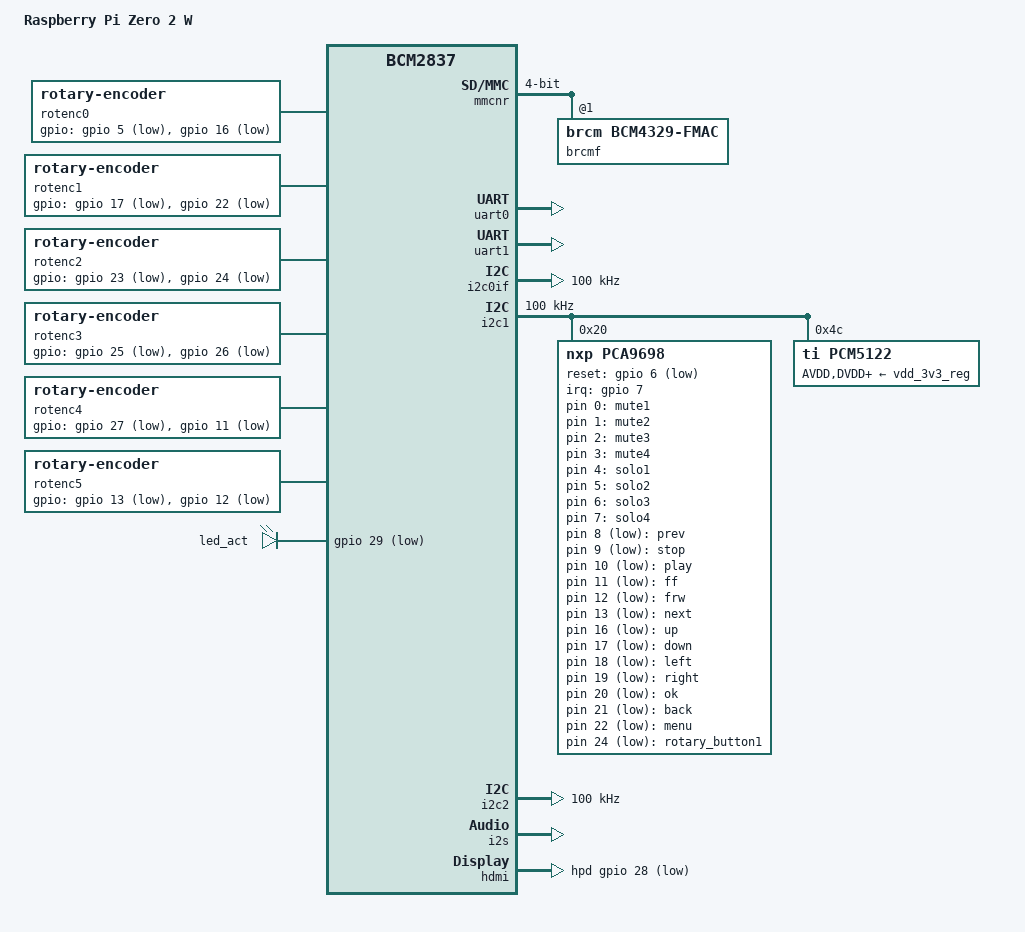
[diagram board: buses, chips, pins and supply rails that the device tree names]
/dts-v1/;

#include <dt-bindings/input/input.h>

#include "bcm2710.dtsi"
#include "bcm2709-rpi.dtsi"
#include "bcm283x-rpi-csi1-2lane.dtsi"
#include "bcm283x-rpi-i2c0mux_0_44.dtsi"
#include "bcm2708-rpi-bt.dtsi"
#include "bcm283x-rpi-led-deprecated.dtsi"

/ {
	compatible = "raspberrypi,model-zero-2-w", "brcm,bcm2837";
	model = "Raspberry Pi Zero 2 W";

	aliases {
		serial0 = &uart1;
		serial1 = &uart0;
		mmc1 = &mmcnr;
	};

	rotenc0: rotary-encoder0 {
		compatible = "rotary-encoder";
		pinctrl-names = "default";
		pinctrl-0 = <&rotenc0_pins>;

		/* A, B channels (BCM GPIO numbers) */
		gpios = <&gpio 5  GPIO_ACTIVE_LOW>,
			<&gpio 16 GPIO_ACTIVE_LOW>;

		/* Optional but recommended */
		//linux,axis = <ABS_X>;               /* produces ABS_X events */
		rotary-encoder,relative-axis;       /* relative movement (like a mouse wheel) */
		rotary-encoder,steps-per-period = <4>; /* common for quadrature */
		debounce-interval = <2>;            /* ms; tweak (1–5 typical) */
	};

	rotenc1: rotary-encoder1 {
		compatible = "rotary-encoder";
		pinctrl-names = "default";
		pinctrl-0 = <&rotenc1_pins>;

		/* A, B channels (BCM GPIO numbers) */
		gpios = <&gpio 17 GPIO_ACTIVE_LOW>,
			<&gpio 22 GPIO_ACTIVE_LOW>;

		rotary-encoder,relative-axis;
		rotary-encoder,steps-per-period = <4>;
		debounce-interval = <2>;
	};

	rotenc2: rotary-encoder2 {
		compatible = "rotary-encoder";
		pinctrl-names = "default";
		pinctrl-0 = <&rotenc2_pins>;

		/* A, B channels (BCM GPIO numbers) */
		gpios = <&gpio 23 GPIO_ACTIVE_LOW>,
			<&gpio 24 GPIO_ACTIVE_LOW>;

		rotary-encoder,relative-axis;
		rotary-encoder,steps-per-period = <4>;
		debounce-interval = <2>;
	};

	rotenc3: rotary-encoder3 {
		compatible = "rotary-encoder";
		pinctrl-names = "default";
		pinctrl-0 = <&rotenc3_pins>;

		/* A, B channels (BCM GPIO numbers) */
		gpios = <&gpio 25 GPIO_ACTIVE_LOW>,
			<&gpio 26 GPIO_ACTIVE_LOW>;

		rotary-encoder,relative-axis;
		rotary-encoder,steps-per-period = <4>;
		debounce-interval = <2>;
	};

	rotenc4: rotary-encoder4 {
		compatible = "rotary-encoder";
		pinctrl-names = "default";
		pinctrl-0 = <&rotenc4_pins>;

		/* A, B channels (BCM GPIO numbers) */
		gpios = <&gpio 27 GPIO_ACTIVE_LOW>,
			<&gpio 11 GPIO_ACTIVE_LOW>;

		rotary-encoder,relative-axis;
		rotary-encoder,steps-per-period = <4>;
		debounce-interval = <2>;
	};

	rotenc5: rotary-encoder5 {
		compatible = "rotary-encoder";
		pinctrl-names = "default";
		pinctrl-0 = <&rotenc5_pins>;

		/* A, B channels (BCM GPIO numbers) */
		gpios = <&gpio 13 GPIO_ACTIVE_LOW>,
			<&gpio 12 GPIO_ACTIVE_LOW>;

		rotary-encoder,relative-axis;
		rotary-encoder,steps-per-period = <4>;
		debounce-interval = <2>;
	};

	gpio_leds_pca: gpio-leds {
		compatible = "gpio-leds";

		mute1_led: mute1 {
			label = "mute1";
			gpios = <&pca9698 0 GPIO_ACTIVE_HIGH>;
			default-state = "off";
		};

		mute2_led: mute2 {
			label = "mute2";
			gpios = <&pca9698 1 GPIO_ACTIVE_HIGH>;
			default-state = "off";
		};

		mute3_led: mute3 {
			label = "mute3";
			gpios = <&pca9698 2 GPIO_ACTIVE_HIGH>;
			default-state = "off";
		};

		mute4_led: mute4 {
			label = "mute4";
			gpios = <&pca9698 3 GPIO_ACTIVE_HIGH>;
			default-state = "off";
		};

		solo1_led: solo1 {
			label = "solo1";
			gpios = <&pca9698 4 GPIO_ACTIVE_HIGH>;
			default-state = "off";
		};

		solo2_led: solo2 {
			label = "solo2";
			gpios = <&pca9698 5 GPIO_ACTIVE_HIGH>;
			default-state = "off";
		};

		solo3_led: solo3 {
			label = "solo3";
			gpios = <&pca9698 6 GPIO_ACTIVE_HIGH>;
			default-state = "off";
		};

		solo4_led: solo4 {
			label = "solo4";
			gpios = <&pca9698 7 GPIO_ACTIVE_HIGH>;
			default-state = "off";
		};
	};

	gpio_keys_pca: gpio-keys {
		compatible = "gpio-keys";
		autorepeat;

		prev_key {
			label = "prev";
			linux,code = <KEY_PREVIOUS>;
			gpios = <&pca9698 8 GPIO_ACTIVE_LOW>;
			bias-pull-up;
		};

		stop_key {
			label = "stop";
			linux,code = <KEY_STOP>;
			gpios = <&pca9698 9 GPIO_ACTIVE_LOW>;
			bias-pull-up;
		};

		play_key {
			label = "play";
			linux,code = <KEY_PLAY>;
			gpios = <&pca9698 10 GPIO_ACTIVE_LOW>;
			bias-pull-up;
		};

		ff_key {
			label = "ff";
			linux,code = <KEY_FASTFORWARD>;
			gpios = <&pca9698 11 GPIO_ACTIVE_LOW>;
			bias-pull-up;
		};

		frw_key {
			label = "frw";
			linux,code = <KEY_REWIND>;
			gpios = <&pca9698 12 GPIO_ACTIVE_LOW>;
			bias-pull-up;
		};

		next_key {
			label = "next";
			linux,code = <KEY_NEXT>;
			gpios = <&pca9698 13 GPIO_ACTIVE_LOW>;
			bias-pull-up;
		};

		up_key {
			label = "up";
			linux,code = <KEY_UP>;
			gpios = <&pca9698 16 GPIO_ACTIVE_LOW>;
			bias-pull-up;
		};

		down_key {
			label = "down";
			linux,code = <KEY_DOWN>;
			gpios = <&pca9698 17 GPIO_ACTIVE_LOW>;
			bias-pull-up;
		};

		left_key {
			label = "left";
			linux,code = <KEY_LEFT>;
			gpios = <&pca9698 18 GPIO_ACTIVE_LOW>;
			bias-pull-up;
		};

		right_key {
			label = "right";
			linux,code = <KEY_RIGHT>;
			gpios = <&pca9698 19 GPIO_ACTIVE_LOW>;
			bias-pull-up;
		};

		ok_key {
			label = "ok";
			linux,code = <KEY_OK>;
			gpios = <&pca9698 20 GPIO_ACTIVE_LOW>;
			bias-pull-up;
		};

		back_key {
			label = "back";
			linux,code = <KEY_BACK>;
			gpios = <&pca9698 21 GPIO_ACTIVE_LOW>;
			bias-pull-up;
		};

		menu_key {
			label = "menu";
			linux,code = <KEY_MENU>;
			gpios = <&pca9698 22 GPIO_ACTIVE_LOW>;
			bias-pull-up;
		};

		rotary_button1_key {
			label = "rotary_button1";
			linux,code = <KEY_1>;
			gpios = <&pca9698 24 GPIO_ACTIVE_LOW>;
			bias-pull-up;
		};

		rotary_button2_key {
			label = "rotary_button2";
			linux,code = <KEY_2>;
			gpios = <&pca9698 25 GPIO_ACTIVE_LOW>;
			bias-pull-up;
		};

		rotary_button3_key {
			label = "rotary_button3";
			linux,code = <KEY_3>;
			gpios = <&pca9698 26 GPIO_ACTIVE_LOW>;
			bias-pull-up;
		};

		rotary_button4_key {
			label = "rotary_button4";
			linux,code = <KEY_4>;
			gpios = <&pca9698 27 GPIO_ACTIVE_LOW>;
			bias-pull-up;
		};

		rotary_button5_key {
			label = "rotary_button5";
			linux,code = <KEY_5>;
			gpios = <&pca9698 28 GPIO_ACTIVE_LOW>;
			bias-pull-up;
		};

		rotary_button6_key {
			label = "rotary_button6";
			linux,code = <KEY_6>;
			gpios = <&pca9698 29 GPIO_ACTIVE_LOW>;
			bias-pull-up;
		};
	};
};

&gpio {
	/*
	 * This is based on the official GPU firmware DT blob.
	 *
	 * Legend:
	 * "NC" = not connected (no rail from the SoC)
	 * "FOO" = GPIO line named "FOO" on the schematic
	 * "FOO_N" = GPIO line named "FOO" on schematic, active low
	 */
	gpio-line-names = "ID_SDA",
			  "ID_SCL",
			  "GPIO2",
			  "GPIO3",
			  "GPIO4",
			  "GPIO5",
			  "GPIO6",
			  "GPIO7",
			  "GPIO8",
			  "GPIO9",
			  "GPIO10",
			  "GPIO11",
			  "GPIO12",
			  "GPIO13",
			  "GPIO14",
			  "GPIO15",
			  "GPIO16",
			  "GPIO17",
			  "GPIO18",
			  "GPIO19",
			  "GPIO20",
			  "GPIO21",
			  "GPIO22",
			  "GPIO23",
			  "GPIO24",
			  "GPIO25",
			  "GPIO26",
			  "GPIO27",
			  "HDMI_HPD_N",
			  "STATUS_LED_N",
			  /* Used by BT module */
			  "CTS0",
			  "RTS0",
			  "TXD0",
			  "RXD0",
			  /* Used by Wifi */
			  "SD1_CLK",
			  "SD1_CMD",
			  "SD1_DATA0",
			  "SD1_DATA1",
			  "SD1_DATA2",
			  "SD1_DATA3",
			  "CAM_GPIO1", /* GPIO40 */
			  "WL_ON", /* GPIO41 */
			  "BT_ON", /* GPIO42 */
			  "WIFI_CLK", /* GPIO43 */
			  "SDA0", /* GPIO44 */
			  "SCL0", /* GPIO45 */
			  "SMPS_SCL", /* GPIO46 */
			  "SMPS_SDA", /* GPIO47 */
			  /* Used by SD Card */
			  "SD_CLK_R",
			  "SD_CMD_R",
			  "SD_DATA0_R",
			  "SD_DATA1_R",
			  "SD_DATA2_R",
			  "SD_DATA3_R";

	i2c0_pins: i2c0 {
		brcm,pins = <0 1>;
		brcm,function = <4>;
	};

	i2c1_pins: i2c1 {
		brcm,pins = <2 3>;
		brcm,function = <4>;
	};

	i2s_pins: i2s {
		brcm,pins = <18 19 20 21>;
		brcm,function = <4>; /* alt0 */
	};

	rotenc0_pins: rotenc0_pins {
		brcm,pins = <5 16>;
		brcm,function = <0>; /* input */
		brcm,pull = <2 2>; /* up */
	};

	rotenc1_pins: rotenc1_pins {
		brcm,pins = <17 22>;
		brcm,function = <0>; /* input */
		brcm,pull = <2 2>; /* up */
	};

	rotenc2_pins: rotenc2_pins {
		brcm,pins = <23 24>;
		brcm,function = <0>; /* input */
		brcm,pull = <2 2>; /* up */
	};

	rotenc3_pins: rotenc3_pins {
		brcm,pins = <25 26>;
		brcm,function = <0>; /* input */
		brcm,pull = <2 2>; /* up */
	};

	rotenc4_pins: rotenc4_pins {
		brcm,pins = <27 11>;
		brcm,function = <0>; /* input */
		brcm,pull = <2 2>; /* up */
	};

	rotenc5_pins: rotenc5_pins {
		brcm,pins = <13 12>;
		brcm,function = <0>; /* input */
		brcm,pull = <2 2>; /* up */
	};

	pca_int_reset_pins: pca_int_reset_pins {
		brcm,pins = <6 7>;
		brcm,function = <0>; /* input */
		brcm,pull = <2 2>; /* up */
	};

	sdio_pins: sdio_pins {
		brcm,pins =     <34 35 36 37 38 39>;
		brcm,function = <7>; // alt3 = SD1
		brcm,pull =     <0 2 2 2 2 2>;
	};

	bt_pins: bt_pins {
		brcm,pins = <43>;
		brcm,function = <4>; /* alt0:GPCLK2 */
		brcm,pull = <0>;
	};

	uart0_pins: uart0_pins {
		brcm,pins = <30 31 32 33>;
		brcm,function = <7>; /* alt3=UART0 */
		brcm,pull = <2 0 0 2>; /* up none none up */
	};

	uart1_pins: uart1_pins {
		brcm,pins;
		brcm,function;
		brcm,pull;
	};

	uart1_bt_pins: uart1_bt_pins {
		brcm,pins = <32 33 30 31>;
		brcm,function = <BCM2835_FSEL_ALT5>; /* alt5=UART1 */
		brcm,pull = <0 2 2 0>;
	};

	audio_pins: audio_pins {
		brcm,pins = <>;
		brcm,function = <>;
	};

};

&mmcnr {
	pinctrl-names = "default";
	pinctrl-0 = <&sdio_pins>;
	bus-width = <4>;
	status = "okay";
	#address-cells = <1>;
	#size-cells = <0>;

	brcmf: wifi@1 {
		reg = <1>;
		compatible = "brcm,bcm4329-fmac";
	};
};

&uart0 {
	pinctrl-names = "default";
	pinctrl-0 = <&uart0_pins &bt_pins>;
	status = "okay";
};

&uart1 {
	pinctrl-names = "default";
	pinctrl-0 = <&uart1_pins>;
	status = "okay";
};

&i2c0if {
	clock-frequency = <100000>;
};

&i2c1 {
	pinctrl-names = "default";
	pinctrl-0 = <&i2c1_pins>;
	clock-frequency = <100000>;
	status = "okay";

	pca9698: gpio@20 {
		compatible = "nxp,pca9698";
		reg = <0x20>;
		gpio-controller;
		#gpio-cells = <2>;
		pinctrl-names = "default";
		pinctrl-0 = <&pca_int_reset_pins>;
		reset-gpios = <&gpio 6 GPIO_ACTIVE_LOW>;
		interrupt-parent = <&gpio>;
		interrupts = <7 IRQ_TYPE_LEVEL_LOW>;
		/* Unmask only stop(9)/play(10), keep all other lines masked. */
		nxp,irq-mask = /bits/ 8 <0xff 0xf9 0xff 0xff 0xff>;

		gpio-line-names =
			"mute1", "mute2", "mute3", "mute4", "solo1", "solo2", "solo3", "solo4",
			"prev", "stop", "play", "ff", "frw", "next", "", "",
			"up", "down", "left", "right", "ok", "back", "menu", "",
			"rotary_button1", "rotary_button2", "rotary_button3", "rotary_button4",
			"rotary_button5", "rotary_button6", "", "",
			"", "", "", "", "", "", "", "";

	};

	pcm5122: pcm5122@4c {
		#sound-dai-cells = <0>;
		compatible = "ti,pcm5122";
		reg = <0x4c>;
		AVDD-supply = <&vdd_3v3_reg>;
		DVDD-supply = <&vdd_3v3_reg>;
		CPVDD-supply = <&vdd_3v3_reg>;
		status = "okay";
	};
};

&i2c2 {
	clock-frequency = <100000>;
};

&i2s {
	pinctrl-names = "default";
	pinctrl-0 = <&i2s_pins>;
	status = "okay";
};

&sound {
	compatible = "simple-audio-card";
	status = "okay";

	simple-audio-card,name = "Waveshare-PCM5122";
	simple-audio-card,format = "i2s";
	simple-audio-card,bitclock-master = <&snd_cpu>;
	simple-audio-card,frame-master = <&snd_cpu>;

	snd_cpu: simple-audio-card,cpu {
		sound-dai = <&i2s>;
		dai-tdm-slot-num = <2>;
		dai-tdm-slot-width = <32>;
	};

	simple-audio-card,codec {
		sound-dai = <&pcm5122>;
	};
};

&led_act {
	gpios = <&gpio 29 GPIO_ACTIVE_LOW>;
	default-state = "off";
	linux,default-trigger = "actpwr";
};

&hdmi {
	hpd-gpios = <&gpio 28 GPIO_ACTIVE_LOW>;
};

&vchiq {
	pinctrl-names = "default";
	pinctrl-0 = <&audio_pins>;
};

&bt {
	shutdown-gpios = <&gpio 42 GPIO_ACTIVE_HIGH>;
};

&minibt {
	shutdown-gpios = <&gpio 42 GPIO_ACTIVE_HIGH>;
};

&cam1_reg {
	gpio = <&gpio 40 GPIO_ACTIVE_HIGH>;
};

cam0_reg: &cam_dummy_reg {
};

i2c_csi_dsi0: &i2c0 {
};

/ {
	__overrides__ {
		audio = <&chosen>,"bootargs{on='snd_bcm2835.enable_hdmi=1',off='snd_bcm2835.enable_hdmi=0'}";

		act_led_gpio = <&led_act>,"gpios:4";
		act_led_activelow = <&led_act>,"gpios:8";
		act_led_trigger = <&led_act>,"linux,default-trigger";
	};
};
